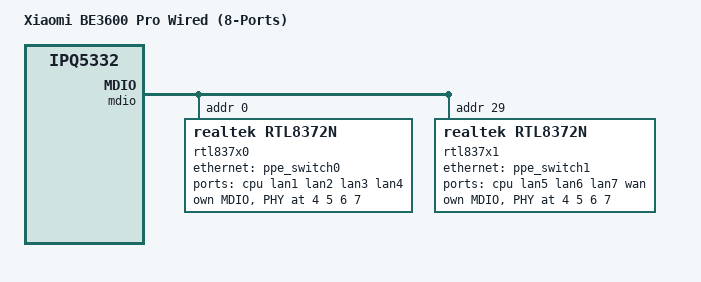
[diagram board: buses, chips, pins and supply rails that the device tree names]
// SPDX-License-Identifier: (GPL-2.0+ OR BSD-3-Clause)

/dts-v1/;

#include "ipq5300-be3600-pro-wired-common.dtsi"

/ {
	model = "Xiaomi BE3600 Pro Wired (8-Ports)";
	compatible = "xiaomi,be3600-pro-wired-p8", "qcom,ipq5332";
};

&mdio {
	status = "okay";

	rtl837x0: rtl837x-dsa@0 {
		compatible = "realtek,rtl8372n";
		reg = <0>;
		#address-cells = <1>;
		#size-cells = <0>;
		realtek,preserve-boot-config;
		realtek,rtl8372n-led-init;
		realtek,quarantine-before-conduit;
		dsa,member = <0 0>;

		ports {
			#address-cells = <1>;
			#size-cells = <0>;

			port@8 {
				reg = <8>;
				label = "cpu";
				ethernet = <&ppe_switch0>;
				phy-mode = "usxgmii";

				fixed-link {
					speed = <10000>;
					full-duplex;
				};
			};

			port@7 {
				reg = <7>;
				label = "lan1";
				phy-mode = "internal";
				phy-handle = <&rtl837x0_phy7>;
			};

			port@6 {
				reg = <6>;
				label = "lan2";
				phy-mode = "internal";
				phy-handle = <&rtl837x0_phy6>;
			};

			port@5 {
				reg = <5>;
				label = "lan3";
				phy-mode = "internal";
				phy-handle = <&rtl837x0_phy5>;
			};

			port@4 {
				reg = <4>;
				label = "lan4";
				phy-mode = "internal";
				phy-handle = <&rtl837x0_phy4>;
			};
		};

		mdio {
			#address-cells = <1>;
			#size-cells = <0>;

			rtl837x0_phy4: ethernet-phy@4 {
				compatible = "ethernet-phy-ieee802.3-c45";
				reg = <4>;
			};

			rtl837x0_phy5: ethernet-phy@5 {
				compatible = "ethernet-phy-ieee802.3-c45";
				reg = <5>;
			};

			rtl837x0_phy6: ethernet-phy@6 {
				compatible = "ethernet-phy-ieee802.3-c45";
				reg = <6>;
			};

			rtl837x0_phy7: ethernet-phy@7 {
				compatible = "ethernet-phy-ieee802.3-c45";
				reg = <7>;
			};
		};
	};

	rtl837x1: rtl837x-dsa@29 {
		compatible = "realtek,rtl8372n";
		reg = <29>;
		#address-cells = <1>;
		#size-cells = <0>;
		realtek,preserve-boot-config;
		realtek,rtl8372n-led-init;
		realtek,quarantine-before-conduit;
		realtek,reinit-cpu-serdes;
		realtek,init-after = <&rtl837x0>;
		dsa,member = <1 0>;

		ports {
			#address-cells = <1>;
			#size-cells = <0>;

			port@8 {
				reg = <8>;
				label = "cpu";
				ethernet = <&ppe_switch1>;
				phy-mode = "usxgmii";

				fixed-link {
					speed = <10000>;
					full-duplex;
					pause;
				};
			};

			port@7 {
				reg = <7>;
				label = "lan5";
				phy-mode = "internal";
				phy-handle = <&rtl837x1_phy7>;
			};

			port@6 {
				reg = <6>;
				label = "lan6";
				phy-mode = "internal";
				phy-handle = <&rtl837x1_phy6>;
			};

			port@5 {
				reg = <5>;
				label = "lan7";
				phy-mode = "internal";
				phy-handle = <&rtl837x1_phy5>;
			};

			port@4 {
				reg = <4>;
				label = "wan";
				phy-mode = "internal";
				phy-handle = <&rtl837x1_phy4>;
			};
		};

		mdio {
			#address-cells = <1>;
			#size-cells = <0>;

			rtl837x1_phy4: ethernet-phy@4 {
				compatible = "ethernet-phy-ieee802.3-c45";
				reg = <4>;
			};

			rtl837x1_phy5: ethernet-phy@5 {
				compatible = "ethernet-phy-ieee802.3-c45";
				reg = <5>;
			};

			rtl837x1_phy6: ethernet-phy@6 {
				compatible = "ethernet-phy-ieee802.3-c45";
				reg = <6>;
			};

			rtl837x1_phy7: ethernet-phy@7 {
				compatible = "ethernet-phy-ieee802.3-c45";
				reg = <7>;
			};
		};
	};
};

&qcom_ppe {
	ethernet-ports {
		ppe_switch0: port@1 {
			fixed-link {
				speed = <10000>;
				full-duplex;
			};
		};

		ppe_switch1: port@2 {
			fixed-link {
				speed = <10000>;
				full-duplex;
				pause;
			};
		};
	};
};
